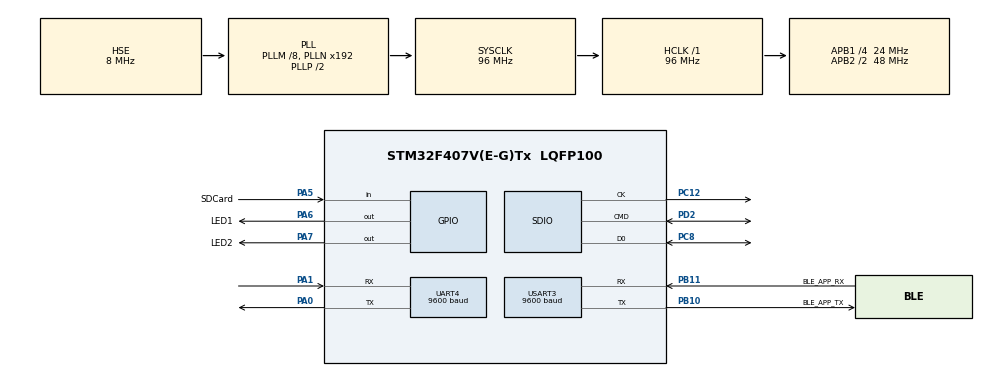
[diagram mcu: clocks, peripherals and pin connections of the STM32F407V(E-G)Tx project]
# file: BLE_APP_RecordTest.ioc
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Dma.Request0=SDIO_RX
Dma.Request1=SDIO_TX
Dma.SDIO_RX.0.Direction=DMA_PERIPH_TO_MEMORY
Dma.SDIO_RX.0.FIFOMode=DMA_FIFOMODE_ENABLE
Dma.SDIO_RX.0.FIFOThreshold=DMA_FIFO_THRESHOLD_FULL
Dma.SDIO_RX.0.Instance=DMA2_Stream3
Dma.SDIO_RX.0.MemBurst=DMA_MBURST_INC4
Dma.SDIO_RX.0.MemDataAlignment=DMA_MDATAALIGN_WORD
Dma.SDIO_RX.0.MemInc=DMA_MINC_ENABLE
Dma.SDIO_RX.0.Mode=DMA_PFCTRL
Dma.SDIO_RX.0.PeriphBurst=DMA_PBURST_INC4
Dma.SDIO_RX.0.PeriphDataAlignment=DMA_PDATAALIGN_WORD
Dma.SDIO_RX.0.PeriphInc=DMA_PINC_DISABLE
Dma.SDIO_RX.0.Priority=DMA_PRIORITY_LOW
Dma.SDIO_TX.1.Direction=DMA_MEMORY_TO_PERIPH
Dma.SDIO_TX.1.FIFOMode=DMA_FIFOMODE_ENABLE
Dma.SDIO_TX.1.FIFOThreshold=DMA_FIFO_THRESHOLD_FULL
Dma.SDIO_TX.1.Instance=DMA2_Stream6
Dma.SDIO_TX.1.MemBurst=DMA_MBURST_INC4
Dma.SDIO_TX.1.MemDataAlignment=DMA_MDATAALIGN_WORD
Dma.SDIO_TX.1.MemInc=DMA_MINC_ENABLE
Dma.SDIO_TX.1.Mode=DMA_PFCTRL
Dma.SDIO_TX.1.PeriphBurst=DMA_PBURST_INC4
Dma.SDIO_TX.1.PeriphDataAlignment=DMA_PDATAALIGN_WORD
Dma.SDIO_TX.1.PeriphInc=DMA_PINC_DISABLE
Dma.SDIO_TX.1.Priority=DMA_PRIORITY_LOW
FATFS.BSP.number=1
FATFS0.BSP.STBoard=false
FATFS0.BSP.api=Unknown
FATFS0.BSP.instance=PA5
FATFS0.BSP.ip=GPIO
FATFS0.BSP.mode=Input
FATFS0.BSP.name=Detect_SDIO
FATFS0.BSP.solution=PA5
Mcu.Family=STM32F4
Mcu.Name=STM32F407V(E-G)Tx
Mcu.Package=LQFP100
NVIC.DMA2_Stream3_IRQn=true\:0\:0\:false\:false\:true\:false\:true\:true
NVIC.DMA2_Stream6_IRQn=true\:0\:0\:false\:false\:true\:false\:true\:true
NVIC.PriorityGroup=NVIC_PRIORITYGROUP_4
NVIC.SDIO_IRQn=true\:0\:0\:false\:false\:true\:true\:true\:true
NVIC.TIM8_UP_TIM13_IRQn=true\:5\:0\:true\:false\:true\:true\:true\:true
NVIC.USART3_IRQn=true\:3\:0\:true\:false\:true\:true\:true\:true
PA0-WKUP.Mode=Asynchronous
PA0-WKUP.Signal=UART4_TX
PA1.Mode=Asynchronous
PA1.Signal=UART4_RX
PA13.Mode=Serial_Wire
PA13.Signal=SYS_JTMS-SWDIO
PA14.Mode=Serial_Wire
PA14.Signal=SYS_JTCK-SWCLK
PA5.GPIO_Label=SDCard
PA5.GPIO_PuPd=GPIO_PULLUP
PA5.Signal=GPIO_Input
PA6.GPIO_Label=LED1
PA6.GPIO_Speed=GPIO_SPEED_FREQ_HIGH
PA6.Signal=GPIO_Output
PA7.GPIO_Label=LED2
PA7.GPIO_Speed=GPIO_SPEED_FREQ_HIGH
PA7.Signal=GPIO_Output
PB10.GPIO_Label=BLE_APP_TX
PB10.Mode=Asynchronous
PB10.Signal=USART3_TX
PB11.GPIO_Label=BLE_APP_RX
PB11.Mode=Asynchronous
PB11.Signal=USART3_RX
PC12.Mode=SD_1_bit
PC12.Signal=SDIO_CK
PC14-OSC32_IN.Mode=LSE-External-Oscillator
PC14-OSC32_IN.Signal=RCC_OSC32_IN
PC15-OSC32_OUT.Mode=LSE-External-Oscillator
PC15-OSC32_OUT.Signal=RCC_OSC32_OUT
PC8.Mode=SD_1_bit
PC8.Signal=SDIO_D0
PD2.Mode=SD_1_bit
PD2.Signal=SDIO_CMD
PH0-OSC_IN.Mode=HSE-External-Oscillator
PH0-OSC_IN.Signal=RCC_OSC_IN
PH1-OSC_OUT.Mode=HSE-External-Oscillator
PH1-OSC_OUT.Signal=RCC_OSC_OUT
ProjectManager.HeapSize=0x200
ProjectManager.StackSize=0x400
ProjectManager.TargetToolchain=MDK-ARM V5.32
RCC.48MHZClocksFreq_Value=48000000
RCC.AHBFreq_Value=96000000
RCC.APB1CLKDivider=RCC_HCLK_DIV4
RCC.APB1Freq_Value=24000000
RCC.APB1TimFreq_Value=48000000
RCC.APB2CLKDivider=RCC_HCLK_DIV2
RCC.APB2Freq_Value=48000000
RCC.APB2TimFreq_Value=96000000
RCC.CortexFreq_Value=96000000
RCC.HCLKFreq_Value=96000000
RCC.HSE_VALUE=8000000
RCC.HSI_VALUE=16000000
RCC.PLLM=8
RCC.PLLSourceVirtual=RCC_PLLSOURCE_HSE
RCC.SYSCLKFreq_VALUE=96000000
RCC.SYSCLKSource=RCC_SYSCLKSOURCE_PLLCLK
RCC.VCOOutputFreq_Value=192000000
RTC.Month=RTC_MONTH_AUGUST
RTC.WeekDay=RTC_WEEKDAY_FRIDAY
TIM13.Channel=TIM_CHANNEL_1
TIM13.Period=47999
UART4.BaudRate=9600
UART4.VirtualMode=Asynchronous
USART3.BaudRate=9600
USART3.VirtualMode=VM_ASYNC
VP_FATFS_VS_SDIO.Mode=SDIO
VP_RTC_VS_RTC_Activate.Mode=RTC_Enabled
VP_RTC_VS_RTC_Calendar.Mode=RTC_Calendar
VP_TIM13_VS_ClockSourceINT.Mode=Enable_Timer
VP_TIM13_VS_no_output1.Mode=Output Compare1 No Output
board=custom

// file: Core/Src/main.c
/* USER CODE BEGIN Header */
/**
  ******************************************************************************
  * @file           : main.c
  * @brief          : Main program body
  ******************************************************************************
  * @attention
  *
  * Copyright (c) 2024 STMicroelectronics.
  * All rights reserved.
  *
  * This software is licensed under terms that can be found in the LICENSE file
  * in the root directory of this software component.
  * If no LICENSE file comes with this software, it is provided AS-IS.
  *
  ******************************************************************************
  */
/* USER CODE END Header */
#include "main.h"
#include "fatfs.h"
#include <stdio.h>
#include <string.h>
#include <stdbool.h>
#include <time.h>

/* USER CODE BEGIN PD */
#define BUFFER_SIZE 100
/* USER CODE END PD */

RTC_HandleTypeDef hrtc;

SD_HandleTypeDef hsd;
DMA_HandleTypeDef hdma_sdio_rx;
DMA_HandleTypeDef hdma_sdio_tx;

TIM_HandleTypeDef htim13;

UART_HandleTypeDef huart4;
UART_HandleTypeDef huart3;

void SystemClock_Config(void);
static void MX_GPIO_Init(void);
static void MX_DMA_Init(void);
static void MX_RTC_Init(void);
static void MX_SDIO_SD_Init(void);
static void MX_TIM13_Init(void);
static void MX_UART4_Init(void);
static void MX_USART3_UART_Init(void);

/* USER CODE BEGIN 0 */
volatile bool isConnect = false;
volatile bool recordFlag  = false;
uint8_t receivedData;
char rxBuffer[BUFFER_SIZE];
uint8_t rxIndex = 0;

bool isDeviceConnected(void);
void sendData(char *data);
void receiveData(char *buffer, uint16_t size);
volatile void processReceivedString(char* str);

typedef struct {
	uint32_t counter;
	float barometer;
	float height;
} SensorData;
volatile SensorData data = {0, 0.0, 0.0};

/* USER CODE END 0 */

int main(void)
{

  /* MCU Configuration--------------------------------------------------------*/

  /* Reset of all peripherals, Initializes the Flash interface and the Systick. */
  HAL_Init();

  /* Configure the system clock */
  SystemClock_Config();

  /* Initialize all configured peripherals */
  MX_GPIO_Init();
  MX_DMA_Init();
  MX_RTC_Init();
  MX_SDIO_SD_Init();
  MX_TIM13_Init();
  MX_UART4_Init();
  MX_USART3_UART_Init();
  MX_FATFS_Init();
  /* USER CODE BEGIN 2 */

	HAL_TIM_Base_Start_IT(&htim13);
	HAL_UART_Receive_IT(&huart3,(uint8_t*)&receivedData, 1);

	while(!isDeviceConnected()){};
	isConnect = true;

	char buffer[BUFFER_SIZE];
	int len = sprintf(buffer, "Count,barometer,height\n");
	HAL_UART_Transmit(&huart3, (uint8_t*)buffer, len, HAL_MAX_DELAY);
  /* USER CODE END 2 */

  /* Infinite loop */
  /* USER CODE BEGIN WHILE */
  while (1)
  {
  }
}

void HAL_TIM_PeriodElapsedCallback(TIM_HandleTypeDef *htim) {
	if (htim->Instance == TIM13) {
		//sensorData = HAL_GetTick();
		data.barometer += 100.0;
		data.height += 0.5;
		if (isConnect && recordFlag) {
				data.counter++;

				char buffer[BUFFER_SIZE];
				int len = sprintf(buffer, "%u,%.3f,%.3f\r\n", data.counter, data.barometer, data.height);
				HAL_UART_Transmit(&huart3, (uint8_t*)buffer, len, HAL_MAX_DELAY);
		}
	}
}

void handleReceivedData(char* str) {
	 if (strcmp(str, "STOP") == 0) {
       recordFlag = false;
    } else if (strcmp(str, "START") == 0) {
       recordFlag = true;
			 data.counter = 0;
    } else if (strcmp(str, "RESETCOUNT") == 0){
			 data.counter = 0;
		} else{
			return;
    }
}

void HAL_UART_RxCpltCallback(UART_HandleTypeDef *huart) {
	if (huart->Instance == USART3) {

    // store str into buffer
    if (receivedData == '\n' || rxIndex >= BUFFER_SIZE - 1) {
        rxBuffer[rxIndex] = '\0';
        handleReceivedData(rxBuffer);
        rxIndex = 0;
     } else {
        rxBuffer[rxIndex++] = receivedData;
    }
    HAL_UART_Receive_IT(huart, (uint8_t*)&receivedData, 1);
	}
}

bool isDeviceConnected(void) {
    char atCmd[] = "AT\r\n";
    char response[10];
    HAL_UART_Transmit(&huart3, (uint8_t*)atCmd, sizeof(atCmd) - 1, HAL_MAX_DELAY);

    // get response
    HAL_UART_Receive(&huart3, (uint8_t*)response, sizeof(response) - 1, HAL_TIMEOUT);

    // check response "OK"
    if (strstr(response, "OK") != NULL) {
        return false;
    } else {
        return true;
    }
}

void SystemClock_Config(void)
{
  RCC_OscInitTypeDef RCC_OscInitStruct = {0};
  RCC_ClkInitTypeDef RCC_ClkInitStruct = {0};

  /** Configure the main internal regulator output voltage
  */
  __HAL_RCC_PWR_CLK_ENABLE();
  __HAL_PWR_VOLTAGESCALING_CONFIG(PWR_REGULATOR_VOLTAGE_SCALE1);

  /** Initializes the RCC Oscillators according to the specified parameters
  * in the RCC_OscInitTypeDef structure.
  */
  RCC_OscInitStruct.OscillatorType = RCC_OSCILLATORTYPE_LSI|RCC_OSCILLATORTYPE_HSE;
  RCC_OscInitStruct.HSEState = RCC_HSE_ON;
  RCC_OscInitStruct.LSIState = RCC_LSI_ON;
  RCC_OscInitStruct.PLL.PLLState = RCC_PLL_ON;
  RCC_OscInitStruct.PLL.PLLSource = RCC_PLLSOURCE_HSE;
  RCC_OscInitStruct.PLL.PLLM = 8;
  RCC_OscInitStruct.PLL.PLLN = 192;
  RCC_OscInitStruct.PLL.PLLP = RCC_PLLP_DIV2;
  RCC_OscInitStruct.PLL.PLLQ = 4;
  if (HAL_RCC_OscConfig(&RCC_OscInitStruct) != HAL_OK)
  {
    Error_Handler();
  }

  /** Initializes the CPU, AHB and APB buses clocks
  */
  RCC_ClkInitStruct.ClockType = RCC_CLOCKTYPE_HCLK|RCC_CLOCKTYPE_SYSCLK
                              |RCC_CLOCKTYPE_PCLK1|RCC_CLOCKTYPE_PCLK2;
  RCC_ClkInitStruct.SYSCLKSource = RCC_SYSCLKSOURCE_PLLCLK;
  RCC_ClkInitStruct.AHBCLKDivider = RCC_SYSCLK_DIV1;
  RCC_ClkInitStruct.APB1CLKDivider = RCC_HCLK_DIV4;
  RCC_ClkInitStruct.APB2CLKDivider = RCC_HCLK_DIV2;

  if (HAL_RCC_ClockConfig(&RCC_ClkInitStruct, FLASH_LATENCY_3) != HAL_OK)
  {
    Error_Handler();
  }
}

static void MX_RTC_Init(void)
{

  RTC_TimeTypeDef sTime = {0};
  RTC_DateTypeDef sDate = {0};

  /** Initialize RTC Only
  */
  hrtc.Instance = RTC;
  hrtc.Init.HourFormat = RTC_HOURFORMAT_24;
  hrtc.Init.AsynchPrediv = 127;
  hrtc.Init.SynchPrediv = 255;
  hrtc.Init.OutPut = RTC_OUTPUT_DISABLE;
  hrtc.Init.OutPutPolarity = RTC_OUTPUT_POLARITY_HIGH;
  hrtc.Init.OutPutType = RTC_OUTPUT_TYPE_OPENDRAIN;
  if (HAL_RTC_Init(&hrtc) != HAL_OK)
  {
    Error_Handler();
  }

  /** Initialize RTC and set the Time and Date
  */
  sTime.Hours = 0x0;
  sTime.Minutes = 0x0;
  sTime.Seconds = 0x0;
  sTime.DayLightSaving = RTC_DAYLIGHTSAVING_NONE;
  sTime.StoreOperation = RTC_STOREOPERATION_RESET;
  if (HAL_RTC_SetTime(&hrtc, &sTime, RTC_FORMAT_BCD) != HAL_OK)
  {
    Error_Handler();
  }
  sDate.WeekDay = RTC_WEEKDAY_FRIDAY;
  sDate.Month = RTC_MONTH_AUGUST;
  sDate.Date = 0x1;
  sDate.Year = 0x0;

  if (HAL_RTC_SetDate(&hrtc, &sDate, RTC_FORMAT_BCD) != HAL_OK)
  {
    Error_Handler();
  }

}

static void MX_SDIO_SD_Init(void)
{

  hsd.Instance = SDIO;
  hsd.Init.ClockEdge = SDIO_CLOCK_EDGE_RISING;
  hsd.Init.ClockBypass = SDIO_CLOCK_BYPASS_DISABLE;
  hsd.Init.ClockPowerSave = SDIO_CLOCK_POWER_SAVE_DISABLE;
  hsd.Init.BusWide = SDIO_BUS_WIDE_1B;
  hsd.Init.HardwareFlowControl = SDIO_HARDWARE_FLOW_CONTROL_DISABLE;
  hsd.Init.ClockDiv = 0;

}

static void MX_TIM13_Init(void)
{

  TIM_OC_InitTypeDef sConfigOC = {0};

  htim13.Instance = TIM13;
  htim13.Init.Prescaler = 0;
  htim13.Init.CounterMode = TIM_COUNTERMODE_UP;
  htim13.Init.Period = 47999;
  htim13.Init.ClockDivision = TIM_CLOCKDIVISION_DIV1;
  htim13.Init.AutoReloadPreload = TIM_AUTORELOAD_PRELOAD_DISABLE;
  if (HAL_TIM_Base_Init(&htim13) != HAL_OK)
  {
    Error_Handler();
  }
  if (HAL_TIM_OC_Init(&htim13) != HAL_OK)
  {
    Error_Handler();
  }
  sConfigOC.OCMode = TIM_OCMODE_TIMING;
  sConfigOC.Pulse = 0;
  sConfigOC.OCPolarity = TIM_OCPOLARITY_HIGH;
  sConfigOC.OCFastMode = TIM_OCFAST_DISABLE;
  if (HAL_TIM_OC_ConfigChannel(&htim13, &sConfigOC, TIM_CHANNEL_1) != HAL_OK)
  {
    Error_Handler();
  }

}

static void MX_UART4_Init(void)
{

  huart4.Instance = UART4;
  huart4.Init.BaudRate = 9600;
  huart4.Init.WordLength = UART_WORDLENGTH_8B;
  huart4.Init.StopBits = UART_STOPBITS_1;
  huart4.Init.Parity = UART_PARITY_NONE;
  huart4.Init.Mode = UART_MODE_TX_RX;
  huart4.Init.HwFlowCtl = UART_HWCONTROL_NONE;
  huart4.Init.OverSampling = UART_OVERSAMPLING_16;
  if (HAL_UART_Init(&huart4) != HAL_OK)
  {
    Error_Handler();
  }

}

static void MX_USART3_UART_Init(void)
{

  huart3.Instance = USART3;
  huart3.Init.BaudRate = 9600;
  huart3.Init.WordLength = UART_WORDLENGTH_8B;
  huart3.Init.StopBits = UART_STOPBITS_1;
  huart3.Init.Parity = UART_PARITY_NONE;
  huart3.Init.Mode = UART_MODE_TX_RX;
  huart3.Init.HwFlowCtl = UART_HWCONTROL_NONE;
  huart3.Init.OverSampling = UART_OVERSAMPLING_16;
  if (HAL_UART_Init(&huart3) != HAL_OK)
  {
    Error_Handler();
  }

}

static void MX_DMA_Init(void)
{

  /* DMA controller clock enable */
  __HAL_RCC_DMA2_CLK_ENABLE();

  /* DMA interrupt init */
  /* DMA2_Stream3_IRQn interrupt configuration */
  HAL_NVIC_SetPriority(DMA2_Stream3_IRQn, 0, 0);
  HAL_NVIC_EnableIRQ(DMA2_Stream3_IRQn);
  /* DMA2_Stream6_IRQn interrupt configuration */
  HAL_NVIC_SetPriority(DMA2_Stream6_IRQn, 0, 0);
  HAL_NVIC_EnableIRQ(DMA2_Stream6_IRQn);

}

static void MX_GPIO_Init(void)
{
  GPIO_InitTypeDef GPIO_InitStruct = {0};

  /* GPIO Ports Clock Enable */
  __HAL_RCC_GPIOC_CLK_ENABLE();
  __HAL_RCC_GPIOH_CLK_ENABLE();
  __HAL_RCC_GPIOA_CLK_ENABLE();
  __HAL_RCC_GPIOB_CLK_ENABLE();
  __HAL_RCC_GPIOD_CLK_ENABLE();

  /*Configure GPIO pin Output Level */
  HAL_GPIO_WritePin(GPIOA, LED1_Pin|LED2_Pin, GPIO_PIN_RESET);

  /*Configure GPIO pin : SDCard_Pin */
  GPIO_InitStruct.Pin = SDCard_Pin;
  GPIO_InitStruct.Mode = GPIO_MODE_INPUT;
  GPIO_InitStruct.Pull = GPIO_PULLUP;
  HAL_GPIO_Init(SDCard_GPIO_Port, &GPIO_InitStruct);

  /*Configure GPIO pins : LED1_Pin LED2_Pin */
  GPIO_InitStruct.Pin = LED1_Pin|LED2_Pin;
  GPIO_InitStruct.Mode = GPIO_MODE_OUTPUT_PP;
  GPIO_InitStruct.Pull = GPIO_NOPULL;
  GPIO_InitStruct.Speed = GPIO_SPEED_FREQ_HIGH;
  HAL_GPIO_Init(GPIOA, &GPIO_InitStruct);

}

void Error_Handler(void)
{
  __disable_irq();
  while (1)
  {
  }
}
